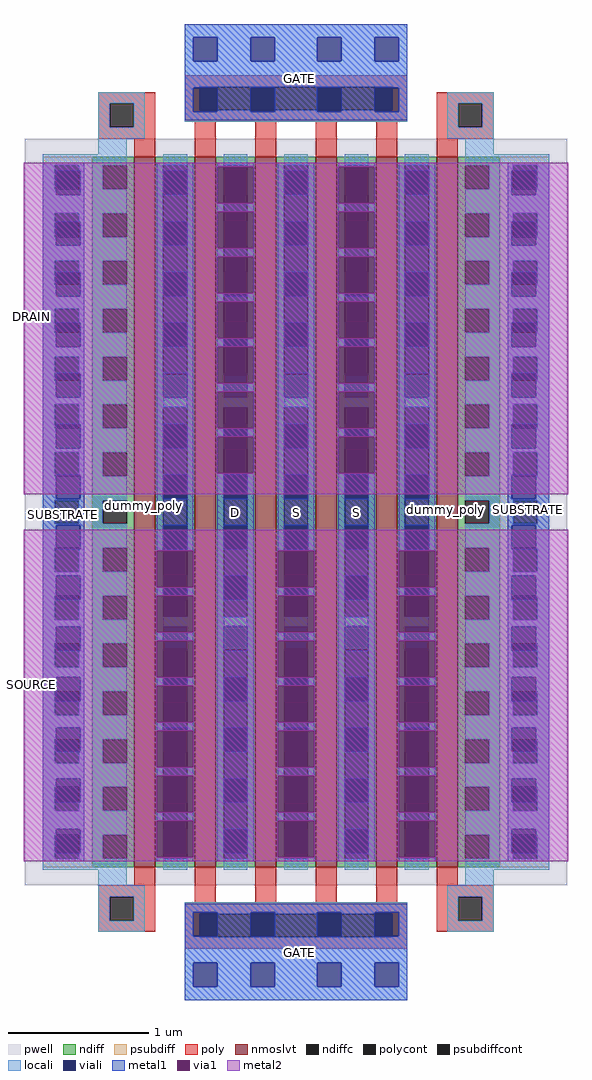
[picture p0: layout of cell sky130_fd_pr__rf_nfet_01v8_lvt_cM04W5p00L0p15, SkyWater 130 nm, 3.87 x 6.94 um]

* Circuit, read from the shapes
.subckt sky130_fd_pr__rf_nfet_01v8_lvt_cM04W5p00L0p15 GATE SUBSTRATE SOURCE DRAIN
XM1 SOURCE SUBSTRATE SUBSTRATE SUBSTRATE sky130_fd_pr__nfet_01v8_lvt w=5.05 l=0.15 m=2
XM2 DRAIN GATE SOURCE SUBSTRATE sky130_fd_pr__nfet_01v8_lvt w=5.05 l=0.15 m=4
.ends

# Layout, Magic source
magic
tech sky130A
magscale 1 2
<< pwell >>
rect 15 163 787 1225
<< nmoslvt >>
rect 171 189 201 1199
rect 257 189 287 1199
rect 343 189 373 1199
rect 429 189 459 1199
rect 515 189 545 1199
rect 601 189 631 1199
<< ndiff >>
rect 111 1187 171 1199
rect 111 1153 126 1187
rect 160 1153 171 1187
rect 111 1119 171 1153
rect 111 1085 126 1119
rect 160 1085 171 1119
rect 111 1051 171 1085
rect 111 1017 126 1051
rect 160 1017 171 1051
rect 111 983 171 1017
rect 111 949 126 983
rect 160 949 171 983
rect 111 915 171 949
rect 111 881 126 915
rect 160 881 171 915
rect 111 847 171 881
rect 111 813 126 847
rect 160 813 171 847
rect 111 779 171 813
rect 111 745 126 779
rect 160 745 171 779
rect 111 711 171 745
rect 111 677 126 711
rect 160 677 171 711
rect 111 643 171 677
rect 111 609 126 643
rect 160 609 171 643
rect 111 575 171 609
rect 111 541 126 575
rect 160 541 171 575
rect 111 507 171 541
rect 111 473 126 507
rect 160 473 171 507
rect 111 439 171 473
rect 111 405 126 439
rect 160 405 171 439
rect 111 371 171 405
rect 111 337 126 371
rect 160 337 171 371
rect 111 303 171 337
rect 111 269 126 303
rect 160 269 171 303
rect 111 235 171 269
rect 111 201 126 235
rect 160 201 171 235
rect 111 189 171 201
rect 201 1187 257 1199
rect 201 889 212 1187
rect 246 889 257 1187
rect 201 843 257 889
rect 201 545 212 843
rect 246 545 257 843
rect 201 499 257 545
rect 201 201 212 499
rect 246 201 257 499
rect 201 189 257 201
rect 287 1187 343 1199
rect 287 889 298 1187
rect 332 889 343 1187
rect 287 843 343 889
rect 287 545 298 843
rect 332 545 343 843
rect 287 499 343 545
rect 287 201 298 499
rect 332 201 343 499
rect 287 189 343 201
rect 373 1187 429 1199
rect 373 889 384 1187
rect 418 889 429 1187
rect 373 843 429 889
rect 373 545 384 843
rect 418 545 429 843
rect 373 499 429 545
rect 373 201 384 499
rect 418 201 429 499
rect 373 189 429 201
rect 459 1187 515 1199
rect 459 889 470 1187
rect 504 889 515 1187
rect 459 843 515 889
rect 459 545 470 843
rect 504 545 515 843
rect 459 499 515 545
rect 459 201 470 499
rect 504 201 515 499
rect 459 189 515 201
rect 545 1187 601 1199
rect 545 889 556 1187
rect 590 889 601 1187
rect 545 843 601 889
rect 545 545 556 843
rect 590 545 601 843
rect 545 499 601 545
rect 545 201 556 499
rect 590 201 601 499
rect 545 189 601 201
rect 631 1187 691 1199
rect 631 1153 642 1187
rect 676 1153 691 1187
rect 631 1119 691 1153
rect 631 1085 642 1119
rect 676 1085 691 1119
rect 631 1051 691 1085
rect 631 1017 642 1051
rect 676 1017 691 1051
rect 631 983 691 1017
rect 631 949 642 983
rect 676 949 691 983
rect 631 915 691 949
rect 631 881 642 915
rect 676 881 691 915
rect 631 847 691 881
rect 631 813 642 847
rect 676 813 691 847
rect 631 779 691 813
rect 631 745 642 779
rect 676 745 691 779
rect 631 711 691 745
rect 631 677 642 711
rect 676 677 691 711
rect 631 643 691 677
rect 631 609 642 643
rect 676 609 691 643
rect 631 575 691 609
rect 631 541 642 575
rect 676 541 691 575
rect 631 507 691 541
rect 631 473 642 507
rect 676 473 691 507
rect 631 439 691 473
rect 631 405 642 439
rect 676 405 691 439
rect 631 371 691 405
rect 631 337 642 371
rect 676 337 691 371
rect 631 303 691 337
rect 631 269 642 303
rect 676 269 691 303
rect 631 235 691 269
rect 631 201 642 235
rect 676 201 691 235
rect 631 189 691 201
<< ndiffc >>
rect 126 1153 160 1187
rect 126 1085 160 1119
rect 126 1017 160 1051
rect 126 949 160 983
rect 126 881 160 915
rect 126 813 160 847
rect 126 745 160 779
rect 126 677 160 711
rect 126 609 160 643
rect 126 541 160 575
rect 126 473 160 507
rect 126 405 160 439
rect 126 337 160 371
rect 126 269 160 303
rect 126 201 160 235
rect 212 889 246 1187
rect 212 545 246 843
rect 212 201 246 499
rect 298 889 332 1187
rect 298 545 332 843
rect 298 201 332 499
rect 384 889 418 1187
rect 384 545 418 843
rect 384 201 418 499
rect 470 889 504 1187
rect 470 545 504 843
rect 470 201 504 499
rect 556 889 590 1187
rect 556 545 590 843
rect 556 201 590 499
rect 642 1153 676 1187
rect 642 1085 676 1119
rect 642 1017 676 1051
rect 642 949 676 983
rect 642 881 676 915
rect 642 813 676 847
rect 642 745 676 779
rect 642 677 676 711
rect 642 609 676 643
rect 642 541 676 575
rect 642 473 676 507
rect 642 405 676 439
rect 642 337 676 371
rect 642 269 676 303
rect 642 201 676 235
<< psubdiff >>
rect 41 1187 111 1199
rect 41 1153 58 1187
rect 92 1153 111 1187
rect 41 1119 111 1153
rect 41 1085 58 1119
rect 92 1085 111 1119
rect 41 1051 111 1085
rect 41 1017 58 1051
rect 92 1017 111 1051
rect 41 983 111 1017
rect 41 949 58 983
rect 92 949 111 983
rect 41 915 111 949
rect 41 881 58 915
rect 92 881 111 915
rect 41 847 111 881
rect 41 813 58 847
rect 92 813 111 847
rect 41 779 111 813
rect 41 745 58 779
rect 92 745 111 779
rect 41 711 111 745
rect 41 677 58 711
rect 92 677 111 711
rect 41 643 111 677
rect 41 609 58 643
rect 92 609 111 643
rect 41 575 111 609
rect 41 541 58 575
rect 92 541 111 575
rect 41 507 111 541
rect 41 473 58 507
rect 92 473 111 507
rect 41 439 111 473
rect 41 405 58 439
rect 92 405 111 439
rect 41 371 111 405
rect 41 337 58 371
rect 92 337 111 371
rect 41 303 111 337
rect 41 269 58 303
rect 92 269 111 303
rect 41 235 111 269
rect 41 201 58 235
rect 92 201 111 235
rect 41 189 111 201
rect 691 1187 761 1199
rect 691 1153 710 1187
rect 744 1153 761 1187
rect 691 1119 761 1153
rect 691 1085 710 1119
rect 744 1085 761 1119
rect 691 1051 761 1085
rect 691 1017 710 1051
rect 744 1017 761 1051
rect 691 983 761 1017
rect 691 949 710 983
rect 744 949 761 983
rect 691 915 761 949
rect 691 881 710 915
rect 744 881 761 915
rect 691 847 761 881
rect 691 813 710 847
rect 744 813 761 847
rect 691 779 761 813
rect 691 745 710 779
rect 744 745 761 779
rect 691 711 761 745
rect 691 677 710 711
rect 744 677 761 711
rect 691 643 761 677
rect 691 609 710 643
rect 744 609 761 643
rect 691 575 761 609
rect 691 541 710 575
rect 744 541 761 575
rect 691 507 761 541
rect 691 473 710 507
rect 744 473 761 507
rect 691 439 761 473
rect 691 405 710 439
rect 744 405 761 439
rect 691 371 761 405
rect 691 337 710 371
rect 744 337 761 371
rect 691 303 761 337
rect 691 269 710 303
rect 744 269 761 303
rect 691 235 761 269
rect 691 201 710 235
rect 744 201 761 235
rect 691 189 761 201
<< psubdiffcont >>
rect 58 1153 92 1187
rect 58 1085 92 1119
rect 58 1017 92 1051
rect 58 949 92 983
rect 58 881 92 915
rect 58 813 92 847
rect 58 745 92 779
rect 58 677 92 711
rect 58 609 92 643
rect 58 541 92 575
rect 58 473 92 507
rect 58 405 92 439
rect 58 337 92 371
rect 58 269 92 303
rect 58 201 92 235
rect 710 1153 744 1187
rect 710 1085 744 1119
rect 710 1017 744 1051
rect 710 949 744 983
rect 710 881 744 915
rect 710 813 744 847
rect 710 745 744 779
rect 710 677 744 711
rect 710 609 744 643
rect 710 541 744 575
rect 710 473 744 507
rect 710 405 744 439
rect 710 337 744 371
rect 710 269 744 303
rect 710 201 744 235
<< poly >>
rect 243 1299 559 1315
rect 120 1275 201 1291
rect 120 1241 136 1275
rect 170 1241 201 1275
rect 243 1265 264 1299
rect 538 1265 559 1299
rect 243 1249 559 1265
rect 601 1275 682 1291
rect 120 1225 201 1241
rect 171 1199 201 1225
rect 257 1199 287 1249
rect 343 1199 373 1249
rect 429 1199 459 1249
rect 515 1199 545 1249
rect 601 1241 632 1275
rect 666 1241 682 1275
rect 601 1225 682 1241
rect 601 1199 631 1225
rect 171 163 201 189
rect 120 147 201 163
rect 120 113 136 147
rect 170 113 201 147
rect 257 139 287 189
rect 343 139 373 189
rect 429 139 459 189
rect 515 139 545 189
rect 601 163 631 189
rect 601 147 682 163
rect 120 97 201 113
rect 243 123 559 139
rect 243 89 264 123
rect 538 89 559 123
rect 601 113 632 147
rect 666 113 682 147
rect 601 97 682 113
rect 243 73 559 89
<< polycont >>
rect 136 1241 170 1275
rect 264 1265 538 1299
rect 632 1241 666 1275
rect 136 113 170 147
rect 264 89 538 123
rect 632 113 666 147
<< locali >>
rect 243 1369 559 1388
rect 243 1335 255 1369
rect 289 1335 337 1369
rect 371 1335 431 1369
rect 465 1335 513 1369
rect 547 1335 559 1369
rect 243 1299 559 1335
rect 243 1297 264 1299
rect 538 1297 559 1299
rect 120 1275 186 1291
rect 120 1241 136 1275
rect 170 1241 186 1275
rect 243 1263 255 1297
rect 289 1263 337 1265
rect 371 1263 431 1265
rect 465 1263 513 1265
rect 547 1263 559 1297
rect 243 1249 559 1263
rect 616 1275 682 1291
rect 120 1225 186 1241
rect 616 1241 632 1275
rect 666 1241 682 1275
rect 616 1225 682 1241
rect 120 1203 160 1225
rect 642 1203 682 1225
rect 41 1187 160 1203
rect 41 1153 58 1187
rect 92 1179 126 1187
rect 94 1153 126 1179
rect 41 1145 60 1153
rect 94 1145 160 1153
rect 41 1119 160 1145
rect 41 1085 58 1119
rect 92 1107 126 1119
rect 94 1085 126 1107
rect 41 1073 60 1085
rect 94 1073 160 1085
rect 41 1051 160 1073
rect 41 1017 58 1051
rect 92 1035 126 1051
rect 94 1017 126 1035
rect 41 1001 60 1017
rect 94 1001 160 1017
rect 41 983 160 1001
rect 41 949 58 983
rect 92 963 126 983
rect 94 949 126 963
rect 41 929 60 949
rect 94 929 160 949
rect 41 915 160 929
rect 41 881 58 915
rect 92 891 126 915
rect 94 881 126 891
rect 41 857 60 881
rect 94 857 160 881
rect 41 847 160 857
rect 41 813 58 847
rect 92 819 126 847
rect 94 813 126 819
rect 41 785 60 813
rect 94 785 160 813
rect 41 779 160 785
rect 41 745 58 779
rect 92 747 126 779
rect 94 745 126 747
rect 41 713 60 745
rect 94 713 160 745
rect 41 711 160 713
rect 41 677 58 711
rect 92 677 126 711
rect 41 675 160 677
rect 41 643 60 675
rect 94 643 160 675
rect 41 609 58 643
rect 94 641 126 643
rect 92 609 126 641
rect 41 603 160 609
rect 41 575 60 603
rect 94 575 160 603
rect 41 541 58 575
rect 94 569 126 575
rect 92 541 126 569
rect 41 531 160 541
rect 41 507 60 531
rect 94 507 160 531
rect 41 473 58 507
rect 94 497 126 507
rect 92 473 126 497
rect 41 459 160 473
rect 41 439 60 459
rect 94 439 160 459
rect 41 405 58 439
rect 94 425 126 439
rect 92 405 126 425
rect 41 387 160 405
rect 41 371 60 387
rect 94 371 160 387
rect 41 337 58 371
rect 94 353 126 371
rect 92 337 126 353
rect 41 315 160 337
rect 41 303 60 315
rect 94 303 160 315
rect 41 269 58 303
rect 94 281 126 303
rect 92 269 126 281
rect 41 243 160 269
rect 41 235 60 243
rect 94 235 160 243
rect 41 201 58 235
rect 94 209 126 235
rect 92 201 126 209
rect 41 185 160 201
rect 212 1187 246 1203
rect 212 843 246 857
rect 212 531 246 545
rect 212 185 246 201
rect 298 1187 332 1203
rect 298 843 332 857
rect 298 531 332 545
rect 298 185 332 201
rect 384 1187 418 1203
rect 384 843 418 857
rect 384 531 418 545
rect 384 185 418 201
rect 470 1187 504 1203
rect 470 843 504 857
rect 470 531 504 545
rect 470 185 504 201
rect 556 1187 590 1203
rect 556 843 590 857
rect 556 531 590 545
rect 556 185 590 201
rect 642 1187 761 1203
rect 676 1179 710 1187
rect 676 1153 708 1179
rect 744 1153 761 1187
rect 642 1145 708 1153
rect 742 1145 761 1153
rect 642 1119 761 1145
rect 676 1107 710 1119
rect 676 1085 708 1107
rect 744 1085 761 1119
rect 642 1073 708 1085
rect 742 1073 761 1085
rect 642 1051 761 1073
rect 676 1035 710 1051
rect 676 1017 708 1035
rect 744 1017 761 1051
rect 642 1001 708 1017
rect 742 1001 761 1017
rect 642 983 761 1001
rect 676 963 710 983
rect 676 949 708 963
rect 744 949 761 983
rect 642 929 708 949
rect 742 929 761 949
rect 642 915 761 929
rect 676 891 710 915
rect 676 881 708 891
rect 744 881 761 915
rect 642 857 708 881
rect 742 857 761 881
rect 642 847 761 857
rect 676 819 710 847
rect 676 813 708 819
rect 744 813 761 847
rect 642 785 708 813
rect 742 785 761 813
rect 642 779 761 785
rect 676 747 710 779
rect 676 745 708 747
rect 744 745 761 779
rect 642 713 708 745
rect 742 713 761 745
rect 642 711 761 713
rect 676 677 710 711
rect 744 677 761 711
rect 642 675 761 677
rect 642 643 708 675
rect 742 643 761 675
rect 676 641 708 643
rect 676 609 710 641
rect 744 609 761 643
rect 642 603 761 609
rect 642 575 708 603
rect 742 575 761 603
rect 676 569 708 575
rect 676 541 710 569
rect 744 541 761 575
rect 642 531 761 541
rect 642 507 708 531
rect 742 507 761 531
rect 676 497 708 507
rect 676 473 710 497
rect 744 473 761 507
rect 642 459 761 473
rect 642 439 708 459
rect 742 439 761 459
rect 676 425 708 439
rect 676 405 710 425
rect 744 405 761 439
rect 642 387 761 405
rect 642 371 708 387
rect 742 371 761 387
rect 676 353 708 371
rect 676 337 710 353
rect 744 337 761 371
rect 642 315 761 337
rect 642 303 708 315
rect 742 303 761 315
rect 676 281 708 303
rect 676 269 710 281
rect 744 269 761 303
rect 642 243 761 269
rect 642 235 708 243
rect 742 235 761 243
rect 676 209 708 235
rect 676 201 710 209
rect 744 201 761 235
rect 642 185 761 201
rect 120 163 160 185
rect 642 163 682 185
rect 120 147 186 163
rect 120 113 136 147
rect 170 113 186 147
rect 616 147 682 163
rect 120 97 186 113
rect 243 125 559 139
rect 243 91 255 125
rect 289 123 337 125
rect 371 123 431 125
rect 465 123 513 125
rect 547 91 559 125
rect 616 113 632 147
rect 666 113 682 147
rect 616 97 682 113
rect 243 89 264 91
rect 538 89 559 91
rect 243 53 559 89
rect 243 19 255 53
rect 289 19 337 53
rect 371 19 431 53
rect 465 19 513 53
rect 547 19 559 53
rect 243 0 559 19
<< viali >>
rect 255 1335 289 1369
rect 337 1335 371 1369
rect 431 1335 465 1369
rect 513 1335 547 1369
rect 255 1265 264 1297
rect 264 1265 289 1297
rect 337 1265 371 1297
rect 431 1265 465 1297
rect 513 1265 538 1297
rect 538 1265 547 1297
rect 255 1263 289 1265
rect 337 1263 371 1265
rect 431 1263 465 1265
rect 513 1263 547 1265
rect 60 1153 92 1179
rect 92 1153 94 1179
rect 60 1145 94 1153
rect 60 1085 92 1107
rect 92 1085 94 1107
rect 60 1073 94 1085
rect 60 1017 92 1035
rect 92 1017 94 1035
rect 60 1001 94 1017
rect 60 949 92 963
rect 92 949 94 963
rect 60 929 94 949
rect 60 881 92 891
rect 92 881 94 891
rect 60 857 94 881
rect 60 813 92 819
rect 92 813 94 819
rect 60 785 94 813
rect 60 745 92 747
rect 92 745 94 747
rect 60 713 94 745
rect 60 643 94 675
rect 60 641 92 643
rect 92 641 94 643
rect 60 575 94 603
rect 60 569 92 575
rect 92 569 94 575
rect 60 507 94 531
rect 60 497 92 507
rect 92 497 94 507
rect 60 439 94 459
rect 60 425 92 439
rect 92 425 94 439
rect 60 371 94 387
rect 60 353 92 371
rect 92 353 94 371
rect 60 303 94 315
rect 60 281 92 303
rect 92 281 94 303
rect 60 235 94 243
rect 60 209 92 235
rect 92 209 94 235
rect 212 1145 246 1179
rect 212 1073 246 1107
rect 212 1001 246 1035
rect 212 929 246 963
rect 212 889 246 891
rect 212 857 246 889
rect 212 785 246 819
rect 212 713 246 747
rect 212 641 246 675
rect 212 569 246 603
rect 212 499 246 531
rect 212 497 246 499
rect 212 425 246 459
rect 212 353 246 387
rect 212 281 246 315
rect 212 209 246 243
rect 298 1145 332 1179
rect 298 1073 332 1107
rect 298 1001 332 1035
rect 298 929 332 963
rect 298 889 332 891
rect 298 857 332 889
rect 298 785 332 819
rect 298 713 332 747
rect 298 641 332 675
rect 298 569 332 603
rect 298 499 332 531
rect 298 497 332 499
rect 298 425 332 459
rect 298 353 332 387
rect 298 281 332 315
rect 298 209 332 243
rect 384 1145 418 1179
rect 384 1073 418 1107
rect 384 1001 418 1035
rect 384 929 418 963
rect 384 889 418 891
rect 384 857 418 889
rect 384 785 418 819
rect 384 713 418 747
rect 384 641 418 675
rect 384 569 418 603
rect 384 499 418 531
rect 384 497 418 499
rect 384 425 418 459
rect 384 353 418 387
rect 384 281 418 315
rect 384 209 418 243
rect 470 1145 504 1179
rect 470 1073 504 1107
rect 470 1001 504 1035
rect 470 929 504 963
rect 470 889 504 891
rect 470 857 504 889
rect 470 785 504 819
rect 470 713 504 747
rect 470 641 504 675
rect 470 569 504 603
rect 470 499 504 531
rect 470 497 504 499
rect 470 425 504 459
rect 470 353 504 387
rect 470 281 504 315
rect 470 209 504 243
rect 556 1145 590 1179
rect 556 1073 590 1107
rect 556 1001 590 1035
rect 556 929 590 963
rect 556 889 590 891
rect 556 857 590 889
rect 556 785 590 819
rect 556 713 590 747
rect 556 641 590 675
rect 556 569 590 603
rect 556 499 590 531
rect 556 497 590 499
rect 556 425 590 459
rect 556 353 590 387
rect 556 281 590 315
rect 556 209 590 243
rect 708 1153 710 1179
rect 710 1153 742 1179
rect 708 1145 742 1153
rect 708 1085 710 1107
rect 710 1085 742 1107
rect 708 1073 742 1085
rect 708 1017 710 1035
rect 710 1017 742 1035
rect 708 1001 742 1017
rect 708 949 710 963
rect 710 949 742 963
rect 708 929 742 949
rect 708 881 710 891
rect 710 881 742 891
rect 708 857 742 881
rect 708 813 710 819
rect 710 813 742 819
rect 708 785 742 813
rect 708 745 710 747
rect 710 745 742 747
rect 708 713 742 745
rect 708 643 742 675
rect 708 641 710 643
rect 710 641 742 643
rect 708 575 742 603
rect 708 569 710 575
rect 710 569 742 575
rect 708 507 742 531
rect 708 497 710 507
rect 710 497 742 507
rect 708 439 742 459
rect 708 425 710 439
rect 710 425 742 439
rect 708 371 742 387
rect 708 353 710 371
rect 710 353 742 371
rect 708 303 742 315
rect 708 281 710 303
rect 710 281 742 303
rect 708 235 742 243
rect 708 209 710 235
rect 710 209 742 235
rect 255 123 289 125
rect 337 123 371 125
rect 431 123 465 125
rect 513 123 547 125
rect 255 91 264 123
rect 264 91 289 123
rect 337 91 371 123
rect 431 91 465 123
rect 513 91 538 123
rect 538 91 547 123
rect 255 19 289 53
rect 337 19 371 53
rect 431 19 465 53
rect 513 19 547 53
<< metal1 >>
rect 243 1369 559 1388
rect 243 1335 255 1369
rect 289 1335 337 1369
rect 371 1335 431 1369
rect 465 1335 513 1369
rect 547 1335 559 1369
rect 243 1297 559 1335
rect 243 1263 255 1297
rect 289 1263 337 1297
rect 371 1263 431 1297
rect 465 1263 513 1297
rect 547 1263 559 1297
rect 243 1251 559 1263
rect 41 1179 100 1191
rect 41 1145 60 1179
rect 94 1145 100 1179
rect 41 1107 100 1145
rect 41 1073 60 1107
rect 94 1073 100 1107
rect 41 1035 100 1073
rect 41 1001 60 1035
rect 94 1001 100 1035
rect 41 963 100 1001
rect 41 929 60 963
rect 94 929 100 963
rect 41 891 100 929
rect 41 857 60 891
rect 94 857 100 891
rect 41 819 100 857
rect 41 785 60 819
rect 94 785 100 819
rect 41 747 100 785
rect 41 713 60 747
rect 94 713 100 747
rect 41 675 100 713
rect 41 641 60 675
rect 94 641 100 675
rect 41 603 100 641
rect 41 569 60 603
rect 94 569 100 603
rect 41 531 100 569
rect 41 497 60 531
rect 94 497 100 531
rect 41 459 100 497
rect 41 425 60 459
rect 94 425 100 459
rect 41 387 100 425
rect 41 353 60 387
rect 94 353 100 387
rect 41 315 100 353
rect 41 281 60 315
rect 94 281 100 315
rect 41 243 100 281
rect 41 209 60 243
rect 94 209 100 243
rect 41 197 100 209
rect 203 1179 255 1191
rect 203 1145 212 1179
rect 246 1145 255 1179
rect 203 1107 255 1145
rect 203 1073 212 1107
rect 246 1073 255 1107
rect 203 1035 255 1073
rect 203 1001 212 1035
rect 246 1001 255 1035
rect 203 963 255 1001
rect 203 929 212 963
rect 246 929 255 963
rect 203 891 255 929
rect 203 857 212 891
rect 246 857 255 891
rect 203 819 255 857
rect 203 785 212 819
rect 246 785 255 819
rect 203 747 255 785
rect 203 713 212 747
rect 246 713 255 747
rect 203 675 255 713
rect 203 641 212 675
rect 246 641 255 675
rect 203 639 255 641
rect 203 575 212 587
rect 246 575 255 587
rect 203 511 212 523
rect 246 511 255 523
rect 203 447 212 459
rect 246 447 255 459
rect 203 387 255 395
rect 203 383 212 387
rect 246 383 255 387
rect 203 319 255 331
rect 203 255 255 267
rect 203 197 255 203
rect 289 1185 341 1191
rect 289 1121 341 1133
rect 289 1057 341 1069
rect 289 1001 298 1005
rect 332 1001 341 1005
rect 289 993 341 1001
rect 289 929 298 941
rect 332 929 341 941
rect 289 865 298 877
rect 332 865 341 877
rect 289 801 298 813
rect 332 801 341 813
rect 289 747 341 749
rect 289 713 298 747
rect 332 713 341 747
rect 289 675 341 713
rect 289 641 298 675
rect 332 641 341 675
rect 289 603 341 641
rect 289 569 298 603
rect 332 569 341 603
rect 289 531 341 569
rect 289 497 298 531
rect 332 497 341 531
rect 289 459 341 497
rect 289 425 298 459
rect 332 425 341 459
rect 289 387 341 425
rect 289 353 298 387
rect 332 353 341 387
rect 289 315 341 353
rect 289 281 298 315
rect 332 281 341 315
rect 289 243 341 281
rect 289 209 298 243
rect 332 209 341 243
rect 289 197 341 209
rect 375 1179 427 1191
rect 375 1145 384 1179
rect 418 1145 427 1179
rect 375 1107 427 1145
rect 375 1073 384 1107
rect 418 1073 427 1107
rect 375 1035 427 1073
rect 375 1001 384 1035
rect 418 1001 427 1035
rect 375 963 427 1001
rect 375 929 384 963
rect 418 929 427 963
rect 375 891 427 929
rect 375 857 384 891
rect 418 857 427 891
rect 375 819 427 857
rect 375 785 384 819
rect 418 785 427 819
rect 375 747 427 785
rect 375 713 384 747
rect 418 713 427 747
rect 375 675 427 713
rect 375 641 384 675
rect 418 641 427 675
rect 375 639 427 641
rect 375 575 384 587
rect 418 575 427 587
rect 375 511 384 523
rect 418 511 427 523
rect 375 447 384 459
rect 418 447 427 459
rect 375 387 427 395
rect 375 383 384 387
rect 418 383 427 387
rect 375 319 427 331
rect 375 255 427 267
rect 375 197 427 203
rect 461 1185 513 1191
rect 461 1121 513 1133
rect 461 1057 513 1069
rect 461 1001 470 1005
rect 504 1001 513 1005
rect 461 993 513 1001
rect 461 929 470 941
rect 504 929 513 941
rect 461 865 470 877
rect 504 865 513 877
rect 461 801 470 813
rect 504 801 513 813
rect 461 747 513 749
rect 461 713 470 747
rect 504 713 513 747
rect 461 675 513 713
rect 461 641 470 675
rect 504 641 513 675
rect 461 603 513 641
rect 461 569 470 603
rect 504 569 513 603
rect 461 531 513 569
rect 461 497 470 531
rect 504 497 513 531
rect 461 459 513 497
rect 461 425 470 459
rect 504 425 513 459
rect 461 387 513 425
rect 461 353 470 387
rect 504 353 513 387
rect 461 315 513 353
rect 461 281 470 315
rect 504 281 513 315
rect 461 243 513 281
rect 461 209 470 243
rect 504 209 513 243
rect 461 197 513 209
rect 547 1179 599 1191
rect 547 1145 556 1179
rect 590 1145 599 1179
rect 547 1107 599 1145
rect 547 1073 556 1107
rect 590 1073 599 1107
rect 547 1035 599 1073
rect 547 1001 556 1035
rect 590 1001 599 1035
rect 547 963 599 1001
rect 547 929 556 963
rect 590 929 599 963
rect 547 891 599 929
rect 547 857 556 891
rect 590 857 599 891
rect 547 819 599 857
rect 547 785 556 819
rect 590 785 599 819
rect 547 747 599 785
rect 547 713 556 747
rect 590 713 599 747
rect 547 675 599 713
rect 547 641 556 675
rect 590 641 599 675
rect 547 639 599 641
rect 547 575 556 587
rect 590 575 599 587
rect 547 511 556 523
rect 590 511 599 523
rect 547 447 556 459
rect 590 447 599 459
rect 547 387 599 395
rect 547 383 556 387
rect 590 383 599 387
rect 547 319 599 331
rect 547 255 599 267
rect 547 197 599 203
rect 702 1179 761 1191
rect 702 1145 708 1179
rect 742 1145 761 1179
rect 702 1107 761 1145
rect 702 1073 708 1107
rect 742 1073 761 1107
rect 702 1035 761 1073
rect 702 1001 708 1035
rect 742 1001 761 1035
rect 702 963 761 1001
rect 702 929 708 963
rect 742 929 761 963
rect 702 891 761 929
rect 702 857 708 891
rect 742 857 761 891
rect 702 819 761 857
rect 702 785 708 819
rect 742 785 761 819
rect 702 747 761 785
rect 702 713 708 747
rect 742 713 761 747
rect 702 675 761 713
rect 702 641 708 675
rect 742 641 761 675
rect 702 603 761 641
rect 702 569 708 603
rect 742 569 761 603
rect 702 531 761 569
rect 702 497 708 531
rect 742 497 761 531
rect 702 459 761 497
rect 702 425 708 459
rect 742 425 761 459
rect 702 387 761 425
rect 702 353 708 387
rect 742 353 761 387
rect 702 315 761 353
rect 702 281 708 315
rect 742 281 761 315
rect 702 243 761 281
rect 702 209 708 243
rect 742 209 761 243
rect 702 197 761 209
rect 243 125 559 137
rect 243 91 255 125
rect 289 91 337 125
rect 371 91 431 125
rect 465 91 513 125
rect 547 91 559 125
rect 243 53 559 91
rect 243 19 255 53
rect 289 19 337 53
rect 371 19 431 53
rect 465 19 513 53
rect 547 19 559 53
rect 243 0 559 19
<< via1 >>
rect 203 603 255 639
rect 203 587 212 603
rect 212 587 246 603
rect 246 587 255 603
rect 203 569 212 575
rect 212 569 246 575
rect 246 569 255 575
rect 203 531 255 569
rect 203 523 212 531
rect 212 523 246 531
rect 246 523 255 531
rect 203 497 212 511
rect 212 497 246 511
rect 246 497 255 511
rect 203 459 255 497
rect 203 425 212 447
rect 212 425 246 447
rect 246 425 255 447
rect 203 395 255 425
rect 203 353 212 383
rect 212 353 246 383
rect 246 353 255 383
rect 203 331 255 353
rect 203 315 255 319
rect 203 281 212 315
rect 212 281 246 315
rect 246 281 255 315
rect 203 267 255 281
rect 203 243 255 255
rect 203 209 212 243
rect 212 209 246 243
rect 246 209 255 243
rect 203 203 255 209
rect 289 1179 341 1185
rect 289 1145 298 1179
rect 298 1145 332 1179
rect 332 1145 341 1179
rect 289 1133 341 1145
rect 289 1107 341 1121
rect 289 1073 298 1107
rect 298 1073 332 1107
rect 332 1073 341 1107
rect 289 1069 341 1073
rect 289 1035 341 1057
rect 289 1005 298 1035
rect 298 1005 332 1035
rect 332 1005 341 1035
rect 289 963 341 993
rect 289 941 298 963
rect 298 941 332 963
rect 332 941 341 963
rect 289 891 341 929
rect 289 877 298 891
rect 298 877 332 891
rect 332 877 341 891
rect 289 857 298 865
rect 298 857 332 865
rect 332 857 341 865
rect 289 819 341 857
rect 289 813 298 819
rect 298 813 332 819
rect 332 813 341 819
rect 289 785 298 801
rect 298 785 332 801
rect 332 785 341 801
rect 289 749 341 785
rect 375 603 427 639
rect 375 587 384 603
rect 384 587 418 603
rect 418 587 427 603
rect 375 569 384 575
rect 384 569 418 575
rect 418 569 427 575
rect 375 531 427 569
rect 375 523 384 531
rect 384 523 418 531
rect 418 523 427 531
rect 375 497 384 511
rect 384 497 418 511
rect 418 497 427 511
rect 375 459 427 497
rect 375 425 384 447
rect 384 425 418 447
rect 418 425 427 447
rect 375 395 427 425
rect 375 353 384 383
rect 384 353 418 383
rect 418 353 427 383
rect 375 331 427 353
rect 375 315 427 319
rect 375 281 384 315
rect 384 281 418 315
rect 418 281 427 315
rect 375 267 427 281
rect 375 243 427 255
rect 375 209 384 243
rect 384 209 418 243
rect 418 209 427 243
rect 375 203 427 209
rect 461 1179 513 1185
rect 461 1145 470 1179
rect 470 1145 504 1179
rect 504 1145 513 1179
rect 461 1133 513 1145
rect 461 1107 513 1121
rect 461 1073 470 1107
rect 470 1073 504 1107
rect 504 1073 513 1107
rect 461 1069 513 1073
rect 461 1035 513 1057
rect 461 1005 470 1035
rect 470 1005 504 1035
rect 504 1005 513 1035
rect 461 963 513 993
rect 461 941 470 963
rect 470 941 504 963
rect 504 941 513 963
rect 461 891 513 929
rect 461 877 470 891
rect 470 877 504 891
rect 504 877 513 891
rect 461 857 470 865
rect 470 857 504 865
rect 504 857 513 865
rect 461 819 513 857
rect 461 813 470 819
rect 470 813 504 819
rect 504 813 513 819
rect 461 785 470 801
rect 470 785 504 801
rect 504 785 513 801
rect 461 749 513 785
rect 547 603 599 639
rect 547 587 556 603
rect 556 587 590 603
rect 590 587 599 603
rect 547 569 556 575
rect 556 569 590 575
rect 590 569 599 575
rect 547 531 599 569
rect 547 523 556 531
rect 556 523 590 531
rect 590 523 599 531
rect 547 497 556 511
rect 556 497 590 511
rect 590 497 599 511
rect 547 459 599 497
rect 547 425 556 447
rect 556 425 590 447
rect 590 425 599 447
rect 547 395 599 425
rect 547 353 556 383
rect 556 353 590 383
rect 590 353 599 383
rect 547 331 599 353
rect 547 315 599 319
rect 547 281 556 315
rect 556 281 590 315
rect 590 281 599 315
rect 547 267 599 281
rect 547 243 599 255
rect 547 209 556 243
rect 556 209 590 243
rect 590 209 599 243
rect 547 203 599 209
<< metal2 >>
rect 14 1185 788 1191
rect 14 1133 289 1185
rect 341 1133 461 1185
rect 513 1133 788 1185
rect 14 1121 788 1133
rect 14 1069 289 1121
rect 341 1069 461 1121
rect 513 1069 788 1121
rect 14 1057 788 1069
rect 14 1005 289 1057
rect 341 1005 461 1057
rect 513 1005 788 1057
rect 14 993 788 1005
rect 14 941 289 993
rect 341 941 461 993
rect 513 941 788 993
rect 14 929 788 941
rect 14 877 289 929
rect 341 877 461 929
rect 513 877 788 929
rect 14 865 788 877
rect 14 813 289 865
rect 341 813 461 865
rect 513 813 788 865
rect 14 801 788 813
rect 14 749 289 801
rect 341 749 461 801
rect 513 749 788 801
rect 14 719 788 749
rect 14 639 788 669
rect 14 587 203 639
rect 255 587 375 639
rect 427 587 547 639
rect 599 587 788 639
rect 14 575 788 587
rect 14 523 203 575
rect 255 523 375 575
rect 427 523 547 575
rect 599 523 788 575
rect 14 511 788 523
rect 14 459 203 511
rect 255 459 375 511
rect 427 459 547 511
rect 599 459 788 511
rect 14 447 788 459
rect 14 395 203 447
rect 255 395 375 447
rect 427 395 547 447
rect 599 395 788 447
rect 14 383 788 395
rect 14 331 203 383
rect 255 331 375 383
rect 427 331 547 383
rect 599 331 788 383
rect 14 319 788 331
rect 14 267 203 319
rect 255 267 375 319
rect 427 267 547 319
rect 599 267 788 319
rect 14 255 788 267
rect 14 203 203 255
rect 255 203 375 255
rect 427 203 547 255
rect 599 203 788 255
rect 14 197 788 203
<< labels >>
flabel metal1 s 301 42 511 92 0 FreeSans 200 0 0 0 GATE
port 1 nsew
flabel metal1 s 301 1286 511 1336 0 FreeSans 200 0 0 0 GATE
port 1 nsew
flabel metal1 s 41 675 100 705 0 FreeSans 200 90 0 0 SUBSTRATE
port 2 nsew
flabel metal1 s 702 683 761 713 0 FreeSans 200 90 0 0 SUBSTRATE
port 2 nsew
flabel comment s 613 697 613 697 0 FreeSans 180 90 0 0 dummy_poly
flabel comment s 184 703 184 703 0 FreeSans 180 90 0 0 dummy_poly
flabel comment s 315 694 315 694 0 FreeSans 300 0 0 0 D
flabel comment s 229 694 229 694 0 FreeSans 300 0 0 0 S
flabel comment s 487 694 487 694 0 FreeSans 300 0 0 0 S
flabel comment s 401 694 401 694 0 FreeSans 300 0 0 0 S
flabel comment s 315 694 315 694 0 FreeSans 300 0 0 0 S
flabel comment s 229 694 229 694 0 FreeSans 300 0 0 0 S
flabel comment s 573 694 573 694 0 FreeSans 300 0 0 0 S
flabel comment s 487 694 487 694 0 FreeSans 300 0 0 0 D
flabel comment s 401 694 401 694 0 FreeSans 300 0 0 0 S
flabel metal2 s 14 384 35 512 7 FreeSans 300 180 0 0 SOURCE
port 3 nsew
flabel metal2 s 14 908 35 1036 7 FreeSans 300 180 0 0 DRAIN
port 4 nsew
<< properties >>
string GDS_FILE $PDKPATH/libs.ref/sky130_fd_pr/gds/sky130_fd_pr.gds
string GDS_END 6763922
string GDS_START 6741048
<< end >>
